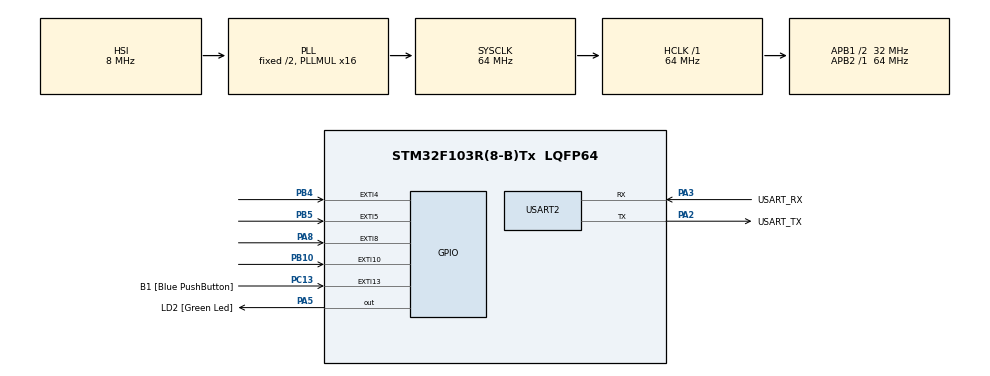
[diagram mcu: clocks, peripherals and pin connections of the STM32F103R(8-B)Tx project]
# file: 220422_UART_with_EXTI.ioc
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Mcu.Family=STM32F1
Mcu.Name=STM32F103R(8-B)Tx
Mcu.Package=LQFP64
NVIC.EXTI15_10_IRQn=true\:0\:0\:false\:false\:true\:true\:true\:true
NVIC.EXTI4_IRQn=true\:0\:0\:false\:false\:true\:true\:true\:true
NVIC.EXTI9_5_IRQn=true\:0\:0\:false\:false\:true\:true\:true\:true
NVIC.PriorityGroup=NVIC_PRIORITYGROUP_4
PA13.GPIO_Label=TMS
PA13.Mode=Serial_Wire
PA13.Signal=SYS_JTMS-SWDIO
PA14.GPIO_Label=TCK
PA14.Mode=Serial_Wire
PA14.Signal=SYS_JTCK-SWCLK
PA2.GPIO_Label=USART_TX
PA2.GPIO_Mode=GPIO_MODE_AF_PP
PA2.GPIO_PuPd=GPIO_NOPULL
PA2.GPIO_Speed=GPIO_SPEED_FREQ_LOW
PA2.Mode=Asynchronous
PA2.Signal=USART2_TX
PA3.GPIO_Label=USART_RX
PA3.GPIO_Mode=GPIO_MODE_AF_PP
PA3.GPIO_PuPd=GPIO_NOPULL
PA3.GPIO_Speed=GPIO_SPEED_FREQ_LOW
PA3.Mode=Asynchronous
PA3.Signal=USART2_RX
PA5.GPIO_Label=LD2 [Green Led]
PA5.GPIO_ModeDefaultOutputPP=GPIO_MODE_OUTPUT_PP
PA5.GPIO_PuPd=GPIO_NOPULL
PA5.GPIO_Speed=GPIO_SPEED_FREQ_LOW
PA5.Signal=GPIO_Output
PA8.Signal=GPXTI8
PB10.Signal=GPXTI10
PB3.GPIO_Label=SWO
PB3.Signal=SYS_JTDO-TRACESWO
PB4.Signal=GPXTI4
PB5.Signal=GPXTI5
PC13-TAMPER-RTC.GPIO_Label=B1 [Blue PushButton]
PC13-TAMPER-RTC.GPIO_PuPd=GPIO_NOPULL
PC13-TAMPER-RTC.Signal=GPXTI13
PC14-OSC32_IN.Mode=LSE-External-Oscillator
PC14-OSC32_IN.Signal=RCC_OSC32_IN
PC15-OSC32_OUT.Mode=LSE-External-Oscillator
PC15-OSC32_OUT.Signal=RCC_OSC32_OUT
PD0-OSC_IN.Mode=HSE-External-Clock-Source
PD0-OSC_IN.Signal=RCC_OSC_IN
PD1-OSC_OUT.Mode=HSE-External-Clock-Source
PD1-OSC_OUT.Signal=RCC_OSC_OUT
ProjectManager.HeapSize=0x200
ProjectManager.StackSize=0x400
ProjectManager.TargetToolchain=STM32CubeIDE
RCC.AHBFreq_Value=64000000
RCC.APB1CLKDivider=RCC_HCLK_DIV2
RCC.APB1Freq_Value=32000000
RCC.APB1TimFreq_Value=64000000
RCC.APB2Freq_Value=64000000
RCC.APB2TimFreq_Value=64000000
RCC.HCLKFreq_Value=64000000
RCC.PLLMUL=RCC_PLL_MUL16
RCC.RTCClockSelection=RCC_RTCCLKSOURCE_LSE
RCC.SYSCLKFreq_VALUE=64000000
RCC.SYSCLKSource=RCC_SYSCLKSOURCE_PLLCLK
RCC.USBFreq_Value=64000000
USART2.VirtualMode=VM_ASYNC
board=NUCLEO-F103RB

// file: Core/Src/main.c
/* USER CODE BEGIN Header */
/**
  ******************************************************************************
  * @file           : main.c
  * @brief          : Main program body
  ******************************************************************************
  * @attention
  *
  * Copyright (c) 2022 STMicroelectronics.
  * All rights reserved.
  *
  * This software is licensed under terms that can be found in the LICENSE file
  * in the root directory of this software component.
  * If no LICENSE file comes with this software, it is provided AS-IS.
  *
  ******************************************************************************
  */
/* USER CODE END Header */
#include "main.h"
#include "stdlib.h"
#include "string.h"

 UART_HandleTypeDef huart2;

void SystemClock_Config(void);
static void MX_GPIO_Init(void);
static void MX_USART2_UART_Init(void);
/* USER CODE BEGIN PFP */

#define TxBufferSize(a) (countof(a)-1)
#define RxBufferSize 0xFF
#define countof(a) (sizeof(a)/sizeof(*(a)))

/* USER CODE END PFP */

/* USER CODE BEGIN 0 */

uint8_t TxBuffer[] = "\n\rUART EXAMPLE2 (Transmission Success!!)\n\r\n\r";
//uint8_t TxBuffer_1[] = "\n\rButton1 Pressed !! \n\r\n\r"; 얘는 동적할당으로 선언했기 때문에 필요 없음.
uint8_t TxBuffer_2[] = "\n\rButton2 Pressed !! \n\r\n\r";
uint8_t TxBuffer_3[] = "\n\rButton3 Pressed !! \n\r\n\r";
uint8_t TxBuffer_4[] = "\n\rButton4 Pressed !! \n\r\n\r";
/* USER CODE END 0 */
// uint8 character 캐릭터형
int main(void)
{
  /* USER CODE BEGIN 1 */

	HAL_UART_Transmit(&huart2,(uint8_t*)TxBuffer, TxBufferSize(TxBuffer), 0xFFFFF);
  /* USER CODE END 1 */

  /* MCU Configuration--------------------------------------------------------*/

  /* Reset of all peripherals, Initializes the Flash interface and the Systick. */
  HAL_Init();

  /* Configure the system clock */
  SystemClock_Config();

  /* Initialize all configured peripherals */
  MX_GPIO_Init();
  MX_USART2_UART_Init();

  /* Infinite loop */
  while (1)
  {

  }
}

void SystemClock_Config(void)
{
  RCC_OscInitTypeDef RCC_OscInitStruct = {0};
  RCC_ClkInitTypeDef RCC_ClkInitStruct = {0};

  /** Initializes the RCC Oscillators according to the specified parameters
  * in the RCC_OscInitTypeDef structure.
  */
  RCC_OscInitStruct.OscillatorType = RCC_OSCILLATORTYPE_HSI;
  RCC_OscInitStruct.HSIState = RCC_HSI_ON;
  RCC_OscInitStruct.HSICalibrationValue = RCC_HSICALIBRATION_DEFAULT;
  RCC_OscInitStruct.PLL.PLLState = RCC_PLL_ON;
  RCC_OscInitStruct.PLL.PLLSource = RCC_PLLSOURCE_HSI_DIV2;
  RCC_OscInitStruct.PLL.PLLMUL = RCC_PLL_MUL16;
  if (HAL_RCC_OscConfig(&RCC_OscInitStruct) != HAL_OK)
  {
    Error_Handler();
  }

  /** Initializes the CPU, AHB and APB buses clocks
  */
  RCC_ClkInitStruct.ClockType = RCC_CLOCKTYPE_HCLK|RCC_CLOCKTYPE_SYSCLK
                              |RCC_CLOCKTYPE_PCLK1|RCC_CLOCKTYPE_PCLK2;
  RCC_ClkInitStruct.SYSCLKSource = RCC_SYSCLKSOURCE_PLLCLK;
  RCC_ClkInitStruct.AHBCLKDivider = RCC_SYSCLK_DIV1;
  RCC_ClkInitStruct.APB1CLKDivider = RCC_HCLK_DIV2;
  RCC_ClkInitStruct.APB2CLKDivider = RCC_HCLK_DIV1;

  if (HAL_RCC_ClockConfig(&RCC_ClkInitStruct, FLASH_LATENCY_2) != HAL_OK)
  {
    Error_Handler();
  }
}

static void MX_USART2_UART_Init(void)
{

  huart2.Instance = USART2;
  huart2.Init.BaudRate = 9600;
  huart2.Init.WordLength = UART_WORDLENGTH_8B;
  huart2.Init.StopBits = UART_STOPBITS_1;
  huart2.Init.Parity = UART_PARITY_NONE;
  huart2.Init.Mode = UART_MODE_TX_RX;
  huart2.Init.HwFlowCtl = UART_HWCONTROL_NONE;
  huart2.Init.OverSampling = UART_OVERSAMPLING_16;
  if (HAL_UART_Init(&huart2) != HAL_OK)
  {
    Error_Handler();
  }

}

static void MX_GPIO_Init(void)
{
  GPIO_InitTypeDef GPIO_InitStruct = {0};

  /* GPIO Ports Clock Enable */
  __HAL_RCC_GPIOC_CLK_ENABLE();
  __HAL_RCC_GPIOD_CLK_ENABLE();
  __HAL_RCC_GPIOA_CLK_ENABLE();
  __HAL_RCC_GPIOB_CLK_ENABLE();

  /*Configure GPIO pin Output Level */
  HAL_GPIO_WritePin(LD2_GPIO_Port, LD2_Pin, GPIO_PIN_RESET);

  /*Configure GPIO pin : B1_Pin */
  GPIO_InitStruct.Pin = B1_Pin;
  GPIO_InitStruct.Mode = GPIO_MODE_IT_RISING;
  GPIO_InitStruct.Pull = GPIO_NOPULL;
  HAL_GPIO_Init(B1_GPIO_Port, &GPIO_InitStruct);

  /*Configure GPIO pin : LD2_Pin */
  GPIO_InitStruct.Pin = LD2_Pin;
  GPIO_InitStruct.Mode = GPIO_MODE_OUTPUT_PP;
  GPIO_InitStruct.Pull = GPIO_NOPULL;
  GPIO_InitStruct.Speed = GPIO_SPEED_FREQ_LOW;
  HAL_GPIO_Init(LD2_GPIO_Port, &GPIO_InitStruct);

  /*Configure GPIO pins : PB10 PB4 PB5 */
  GPIO_InitStruct.Pin = GPIO_PIN_10|GPIO_PIN_4|GPIO_PIN_5;
  GPIO_InitStruct.Mode = GPIO_MODE_IT_RISING;
  GPIO_InitStruct.Pull = GPIO_NOPULL;
  HAL_GPIO_Init(GPIOB, &GPIO_InitStruct);

  /*Configure GPIO pin : PA8 */
  GPIO_InitStruct.Pin = GPIO_PIN_8;
  GPIO_InitStruct.Mode = GPIO_MODE_IT_RISING;
  GPIO_InitStruct.Pull = GPIO_NOPULL;
  HAL_GPIO_Init(GPIOA, &GPIO_InitStruct);

  /* EXTI interrupt init*/
  HAL_NVIC_SetPriority(EXTI4_IRQn, 0, 0);
  HAL_NVIC_EnableIRQ(EXTI4_IRQn);

  HAL_NVIC_SetPriority(EXTI9_5_IRQn, 0, 0);
  HAL_NVIC_EnableIRQ(EXTI9_5_IRQn);

  HAL_NVIC_SetPriority(EXTI15_10_IRQn, 0, 0);
  HAL_NVIC_EnableIRQ(EXTI15_10_IRQn);

}

/* USER CODE BEGIN 4 */
void HAL_GPIO_EXTI_Callback(uint16_t GPIO_Pin){

	if(GPIO_Pin == GPIO_PIN_8){
		uint8_t *Pointer = (uint8_t *)malloc(sizeof("\n\rButton1 Pressed !! \n\r\n\r"));
		strcpy(Pointer,"\n\rButton1 Pressed !! \n\r\n\r");
		HAL_UART_Transmit(&huart2, Pointer, sizeof("\n\rButton1 Pressed !! \n\r\n\r"), 0xFFFFF);
		free(Pointer);
	}
	if(GPIO_Pin == GPIO_PIN_4){
		HAL_UART_Transmit(&huart2, TxBuffer_2, TxBufferSize(TxBuffer_2), 0xFFFFF);
	}
	if(GPIO_Pin == GPIO_PIN_5){
		HAL_UART_Transmit(&huart2, TxBuffer_3, TxBufferSize(TxBuffer_3), 0xFFFFF);
	}
	if(GPIO_Pin == GPIO_PIN_10){
		HAL_UART_Transmit(&huart2, TxBuffer_4, TxBufferSize(TxBuffer_4), 0xFFFFF);
	}
}
/* USER CODE END 4 */

void Error_Handler(void)
{
  __disable_irq();
  while (1)
  {
  }
}
